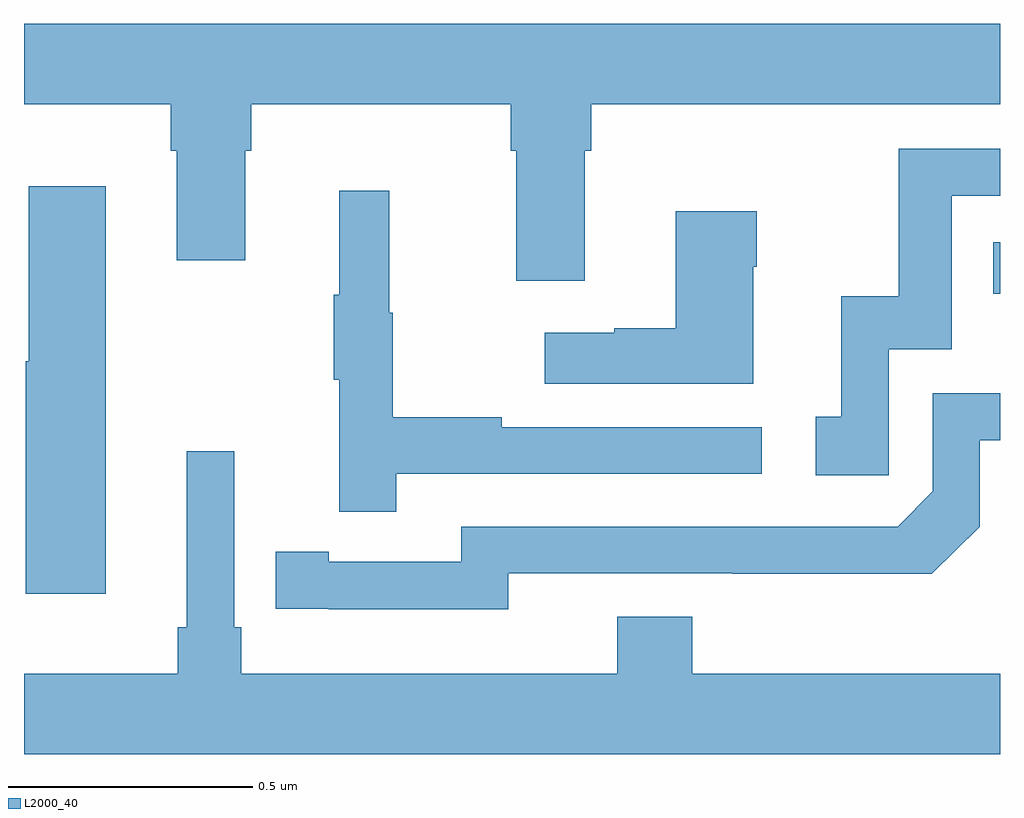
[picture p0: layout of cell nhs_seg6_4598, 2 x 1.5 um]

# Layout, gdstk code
import gdstk
lib = gdstk.Library(unit=1e-6, precision=1e-09)
def R(c, l, rs):  # rectangles x0, y0, x1, y1
    for r in rs: c.add(gdstk.rectangle(r[:2], r[2:], *l))
def P(c, l, *ps):  # polygons
    for p in ps: c.add(gdstk.Polygon(p, *l))
L2000_40 = (2000, 40)

nhs_seg6_4598 = lib.new_cell('nhs_seg6_4598')
R(nhs_seg6_4598, L2000_40, [(173.986,933.627,174,933.733)])
P(nhs_seg6_4598, L2000_40, [(173.149,933.92),(173.162,933.92),(173.162,934.016),(174,934.016),(174,934.18),(172,934.18),(172,934.016),(172.301,934.016),(172.301,933.92),(172.313,933.92),(172.313,933.696),(172.453,933.696),(172.453,933.92),(172.466,933.92),(172.466,934.016),(172.997,934.016),(172.997,933.92),(173.009,933.92),(173.009,933.654),(173.149,933.654)],
  [(173.772,933.513),(173.901,933.513),(173.901,933.828),(174,933.828),(174,933.924),(173.793,933.924),(173.793,933.622),(173.675,933.622),(173.675,933.375),(173.622,933.375),(173.622,933.255),(173.772,933.255)],
  [(172.168,933.847),(172.01,933.847),(172.01,933.489),(172.004,933.489),(172.004,933.012),(172.168,933.012)],
  [(172.763,933.258),(173.512,933.258),(173.512,933.354),(172.979,933.354),(172.979,933.374),(172.756,933.374),(172.756,933.588),(172.748,933.588),(172.748,933.838),(172.646,933.838),(172.646,933.625),(172.635,933.625),(172.635,933.451),(172.646,933.451),(172.646,933.18),(172.763,933.18)],
  [(173.494,933.683),(173.502,933.683),(173.502,933.796),(173.336,933.796),(173.336,933.557),(173.21,933.557),(173.21,933.547),(173.067,933.547),(173.067,933.443),(173.494,933.443)],
  [(172.992,933.054),(173.452,933.054),(173.452,933.053),(173.86,933.053),(173.958,933.15),(173.958,933.327),(174,933.327),(174,933.423),(173.862,933.423),(173.862,933.222),(173.79,933.15),(172.896,933.15),(172.896,933.078),(172.624,933.078),(172.624,933.098),(172.516,933.098),(172.516,932.982),(172.624,932.982),(172.624,932.981),(172.992,932.981)],
  [(174,932.848),(173.369,932.848),(173.369,932.965),(173.216,932.965),(173.216,932.848),(172.445,932.848),(172.445,932.944),(172.431,932.944),(172.431,933.304),(172.334,933.304),(172.334,932.944),(172.315,932.944),(172.315,932.848),(172,932.848),(172,932.684),(174,932.684)])

lib.write_gds('nhs_seg6_4598.gds')
